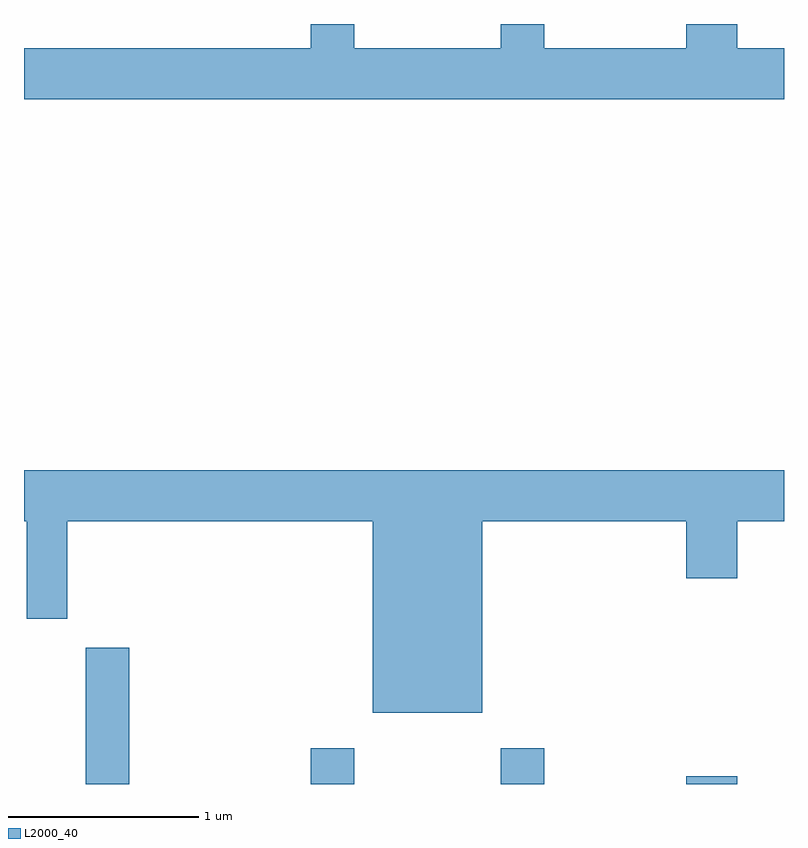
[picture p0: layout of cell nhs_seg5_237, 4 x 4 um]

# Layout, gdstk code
import gdstk
lib = gdstk.Library(unit=1e-6, precision=1e-09)
def R(c, l, rs):  # rectangles x0, y0, x1, y1
    for r in rs: c.add(gdstk.rectangle(r[:2], r[2:], *l))
def P(c, l, *ps):  # polygons
    for p in ps: c.add(gdstk.Polygon(p, *l))
L2000_40 = (2000, 40)

nhs_seg5_237 = lib.new_cell('nhs_seg5_237')
R(nhs_seg5_237, L2000_40, [(191.936,1462.072,192.164,1462.789), (193.121,1462.072,193.349,1462.259), (194.121,1462.072,194.349,1462.259), (195.096,1462.072,195.364,1462.114)])
P(nhs_seg5_237, L2000_40, [(195.611,1465.944),(195.364,1465.944),(195.364,1466.072),(195.096,1466.072),(195.096,1465.944),(194.349,1465.944),(194.349,1466.072),(194.121,1466.072),(194.121,1465.944),(193.349,1465.944),(193.349,1466.072),(193.121,1466.072),(193.121,1465.944),(191.611,1465.944),(191.611,1465.676),(195.611,1465.676)],
  [(194.024,1463.456),(195.096,1463.456),(195.096,1463.156),(195.364,1463.156),(195.364,1463.456),(195.611,1463.456),(195.611,1463.724),(191.611,1463.724),(191.611,1463.456),(191.626,1463.456),(191.626,1462.941),(191.839,1462.941),(191.839,1463.456),(193.446,1463.456),(193.446,1462.446),(194.024,1462.446)])

lib.write_gds('nhs_seg5_237.gds')
